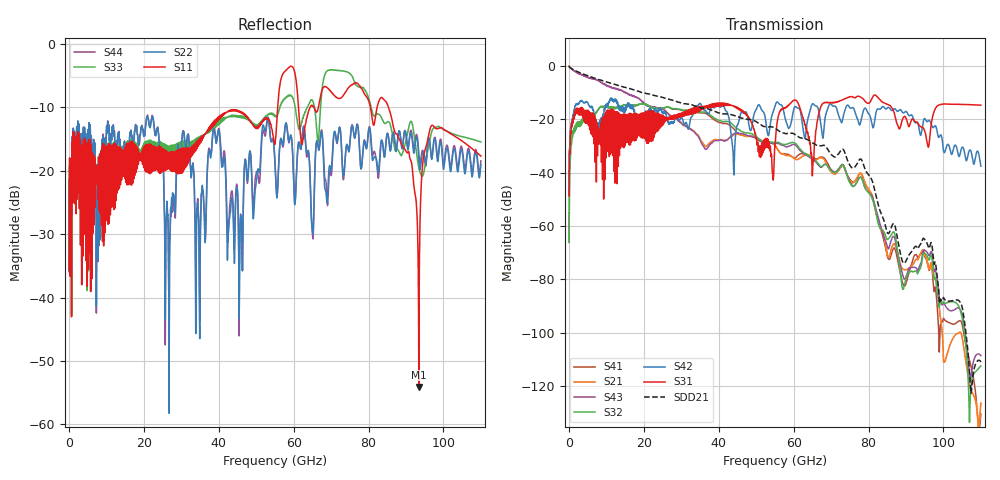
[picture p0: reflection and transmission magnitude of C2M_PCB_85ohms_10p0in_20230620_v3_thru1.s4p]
! Info: Touchstone file created by Circ.  Input file=C2M_PCB_85ohms_10p0in_20230620_v3.circ
# Hz S RI R 50
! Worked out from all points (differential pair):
!   11000 points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, 10 MHz to 110 GHz, reference 50 ohm
!   strongest paths, dB at 10 MHz, 27.51 GHz, 55.01 GHz, 82.51 GHz, 110 GHz:
!     S31: -48.7, -19.7, -29.6, -11.9, -14.7
!     S42: -48.6, -21.5, -15.0, -16.1, -37.6
!     S32: -66.1, -15.9, -28.6, -58.5, -112.4
!     S43: -0.1, -19.1, -29.0, -56.5, -108.6
!     S21: -0.1, -18.7, -29.7, -58.3, -126.4
!     S41: -66.1, -16.1, -29.8, -57.5, -130.5
!   taken as a pair (ports 3,1 in; 4,2 out), SDD21 dB: -0.1, -12.8, -23.3, -51.7, -110.9
!   lowest |S11| = -54.1 dB at 93.42 GHz (marker M1), VSWR 1.00, Z = 49.8 + j0.024 ohm
!   |S11| at or under -10 dB: start of sweep to 55.72 GHz; 61.3 GHz to 64.33 GHz (3.024 GHz wide, 4.81 % of centre); 85.31 GHz to end of sweep (the widest 3 of 5)
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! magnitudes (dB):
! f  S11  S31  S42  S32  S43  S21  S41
! 10 MHz  -35.5  -48.7  -48.6  -66.1  -0.1  -0.1  -66.1
! 8.26 GHz  -21.3  -23.9  -20.8  -15.6  -5.9  -5.9  -15.6
! 36.18 GHz  -14.3  -15.6  -16.6  -17.3  -30.8  -29.8  -17.7
! 54.36 GHz  -14.2  -40.3  -17.8  -28.7  -29.0  -29.0  -29.1
! 73.09 GHz  -8.2  -12.7  -20.0  -37.2  -37.0  -37.3  -37.1
! 93.42 GHz  -54.1  -22.0  -22.9  -76.8  -75.7  -71.8  -71.5
! 110 GHz  -17.7  -14.7  -37.6  -112.4  -108.6  -126.4  -130.5
